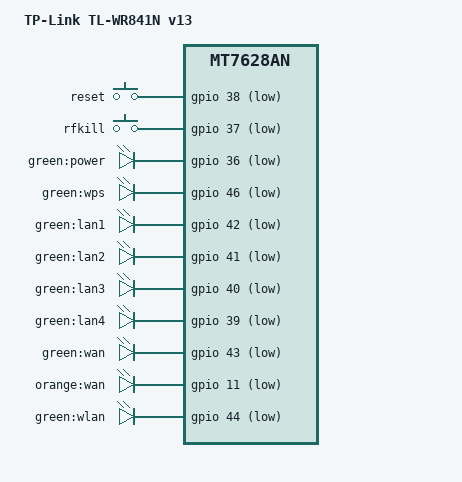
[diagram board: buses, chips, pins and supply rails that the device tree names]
#include "mt7628an_tplink_8m.dtsi"

/ {
	compatible = "tplink,tl-wr841n-v13", "mediatek,mt7628an-soc";
	model = "TP-Link TL-WR841N v13";

	aliases {
		led-boot = &led_power;
		led-failsafe = &led_power;
		led-running = &led_power;
		led-upgrade = &led_power;
	};

	keys {
		compatible = "gpio-keys";

		reset {
			label = "reset";
			gpios = <&gpio 38 GPIO_ACTIVE_LOW>;
			linux,code = <KEY_RESTART>;
		};

		rfkill {
			label = "rfkill";
			gpios = <&gpio 37 GPIO_ACTIVE_LOW>;
			linux,code = <KEY_RFKILL>;
		};
	};

	leds {
		compatible = "gpio-leds";

		led_power: power {
			label = "green:power";
			gpios = <&gpio 36 GPIO_ACTIVE_LOW>;
		};

		wps {
			label = "green:wps";
			gpios = <&gpio 46 GPIO_ACTIVE_LOW>;
		};

		lan1 {
			label = "green:lan1";
			gpios = <&gpio 42 GPIO_ACTIVE_LOW>;
		};

		lan2 {
			label = "green:lan2";
			gpios = <&gpio 41 GPIO_ACTIVE_LOW>;
		};

		lan3 {
			label = "green:lan3";
			gpios = <&gpio 40 GPIO_ACTIVE_LOW>;
		};

		lan4 {
			label = "green:lan4";
			gpios = <&gpio 39 GPIO_ACTIVE_LOW>;
		};

		wan_green {
			label = "green:wan";
			gpios = <&gpio 43 GPIO_ACTIVE_LOW>;
		};

		wan_orange {
			label = "orange:wan";
			gpios = <&gpio 11 GPIO_ACTIVE_LOW>;
		};

		wlan {
			label = "green:wlan";
			gpios = <&gpio 44 GPIO_ACTIVE_LOW>;
		};
	};
};

&ehci {
	status = "disabled";
};

&ohci {
	status = "disabled";
};

&state_default {
	gpio {
		groups = "gpio", "p0led_an", "p1led_an", "p2led_an", "p3led_an", "p4led_an", "perst", "refclk", "uart1", "wdt", "wled_an";
		function = "gpio";
	};
};

&esw {
	mediatek,portmap = <0x3e>;
};
